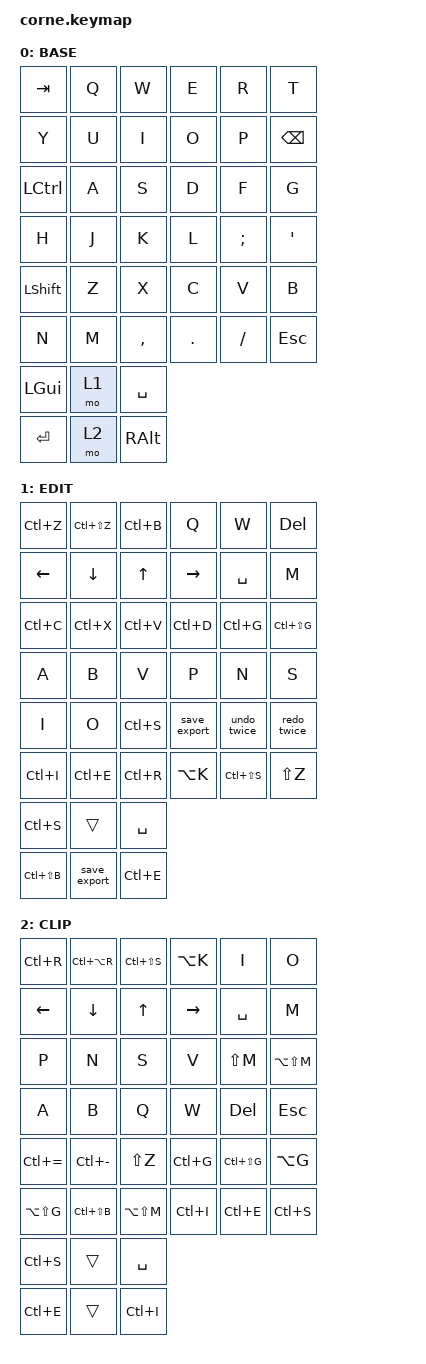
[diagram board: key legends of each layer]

/*
 * Copyright (c) 2020 The ZMK Contributors
 *
 * SPDX-License-Identifier: MIT
 *
 * Split-Lab — Corne V3 Choc
 * CapCut Desktop — Windows
 *
 * Layer 0: BASE
 * Layer 1: EDIT
 * Layer 2: CLIP
 */

#include <behaviors.dtsi>
#include <dt-bindings/zmk/keys.h>

/ {
    macros {
        // Save project, then open Export dialog
        save_export: save_export {
            compatible = "zmk,behavior-macro";
            #binding-cells = <0>;
            wait-ms = <100>;
            tap-ms = <40>;
            bindings =
                <&kp LC(S)>,
                <&kp LC(E)>;
        };

        // Undo twice
        undo_twice: undo_twice {
            compatible = "zmk,behavior-macro";
            #binding-cells = <0>;
            wait-ms = <60>;
            tap-ms = <40>;
            bindings =
                <&kp LC(Z)>,
                <&kp LC(Z)>;
        };

        // Redo twice
        redo_twice: redo_twice {
            compatible = "zmk,behavior-macro";
            #binding-cells = <0>;
            wait-ms = <60>;
            tap-ms = <40>;
            bindings =
                <&kp LC(LS(Z))>,
                <&kp LC(LS(Z))>;
        };
    };

    keymap {
        compatible = "zmk,keymap";

        // =========================================================
        // LAYER 0 — BASE
        // =========================================================

        default_layer {
            display-name = "BASE";

            bindings = <
                // TAB  Q    W    E    R    T       Y    U    I    O    P    BSPC
                &kp TAB    &kp Q &kp W &kp E &kp R &kp T
                &kp Y      &kp U &kp I &kp O &kp P &kp BSPC

                // CTRL A    S    D    F    G       H    J    K    L    ;    '
                &kp LCTRL  &kp A &kp S &kp D &kp F &kp G
                &kp H      &kp J &kp K &kp L &kp SEMI &kp SQT

                // SHIFT Z  X    C    V    B       N    M    ,    .    /    ESC
                &kp LSHFT  &kp Z &kp X &kp C &kp V &kp B
                &kp N      &kp M &kp COMMA &kp DOT &kp FSLH &kp ESC

                // GUI | EDIT | SPACE       ENTER | CLIP | ALT
                &kp LGUI &mo 1 &kp SPACE
                &kp RET  &mo 2 &kp RALT
            >;
        };

        // =========================================================
        // LAYER 1 — EDIT
        // Основные команды монтажа
        // =========================================================

        lower_layer {
            display-name = "EDIT";

            bindings = <
                // UNDO | REDO | SPLIT | TRIM LEFT | TRIM RIGHT | DELETE
                &kp LC(Z) &kp LC(LS(Z)) &kp LC(B) &kp Q &kp W &kp DEL

                // LEFT | DOWN | UP | RIGHT | PLAY | MARKER
                &kp LEFT &kp DOWN &kp UP &kp RIGHT &kp SPACE &kp M

                // COPY | CUT | PASTE | DUPLICATE | GROUP | UNGROUP
                &kp LC(C) &kp LC(X) &kp LC(V) &kp LC(D) &kp LC(G) &kp LC(LS(G))

                // SELECT | SPLIT TOOL | ENABLE | MAGNET | SNAP | PREVIEW
                &kp A &kp B &kp V &kp P &kp N &kp S

                // IN | OUT | SAVE | SAVE+EXPORT | UNDO X2 | REDO X2
                &kp I &kp O &kp LC(S) &save_export &undo_twice &redo_twice

                // IMPORT | EXPORT | SPEED | KEYFRAME | AUDIO | FIT
                &kp LC(I) &kp LC(E) &kp LC(R) &kp LA(K) &kp LC(LS(S)) &kp LS(Z)

                // THUMBS
                &kp LC(S) &trans &kp SPACE
                &kp LC(LS(B)) &save_export &kp LC(E)
            >;
        };

        // =========================================================
        // LAYER 2 — CLIP
        // Работа с клипами и таймлайном
        // =========================================================

        raise_layer {
            display-name = "CLIP";

            bindings = <
                // SPEED | REVERSE | AUDIO | KEYFRAME | IN | OUT
                &kp LC(R) &kp LC(LA(R)) &kp LC(LS(S)) &kp LA(K) &kp I &kp O

                // LEFT | DOWN | UP | RIGHT | PLAY | MARKER
                &kp LEFT &kp DOWN &kp UP &kp RIGHT &kp SPACE &kp M

                // MAGNET | SNAP | PREVIEW | ENABLE | NEXT MARK | PREV MARK
                &kp P &kp N &kp S &kp V &kp LS(M) &kp LA(LS(M))

                // SELECT | SPLIT | TRIM LEFT | TRIM RIGHT | DELETE | ESC
                &kp A &kp B &kp Q &kp W &kp DEL &kp ESC

                // ZOOM IN | ZOOM OUT | FIT | GROUP | UNGROUP | COMPOUND
                &kp LC(EQUAL) &kp LC(MINUS) &kp LS(Z) &kp LC(G) &kp LC(LS(G)) &kp LA(G)

                // UNDO COMPOUND | SPLIT ALL | PREV MARK | IMPORT | EXPORT | SAVE
                &kp LA(LS(G)) &kp LC(LS(B)) &kp LA(LS(M)) &kp LC(I) &kp LC(E) &kp LC(S)

                // THUMBS
                &kp LC(S) &trans &kp SPACE
                &kp LC(E) &trans &kp LC(I)
            >;
        };
    };
};
